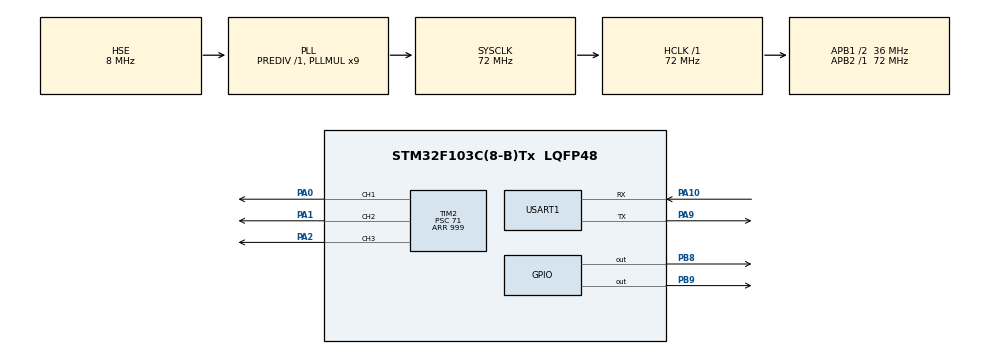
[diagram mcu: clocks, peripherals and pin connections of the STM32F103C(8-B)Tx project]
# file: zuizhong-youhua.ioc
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FREERTOS.Tasks01=defaultTask,24,128,StartDefaultTask,Default,NULL,Dynamic,NULL,NULL
Mcu.Family=STM32F1
Mcu.Name=STM32F103C(8-B)Tx
Mcu.Package=LQFP48
NVIC.PriorityGroup=NVIC_PRIORITYGROUP_4
NVIC.TIM4_IRQn=true\:15\:0\:false\:false\:true\:false\:false\:true\:true
NVIC.TimeBase=TIM4_IRQn
NVIC.TimeBaseIP=TIM4
NVIC.USART1_IRQn=true\:5\:0\:true\:false\:true\:true\:true\:true\:true
PA0-WKUP.Signal=S_TIM2_CH1_ETR
PA1.Signal=S_TIM2_CH2
PA10.Mode=Asynchronous
PA10.Signal=USART1_RX
PA13.Mode=Serial_Wire
PA13.Signal=SYS_JTMS-SWDIO
PA14.Mode=Serial_Wire
PA14.Signal=SYS_JTCK-SWCLK
PA2.Signal=S_TIM2_CH3
PA9.Mode=Asynchronous
PA9.Signal=USART1_TX
PB8.Signal=GPIO_Output
PB9.PinState=GPIO_PIN_SET
PB9.Signal=GPIO_Output
PD0-OSC_IN.Mode=HSE-External-Oscillator
PD0-OSC_IN.Signal=RCC_OSC_IN
PD1-OSC_OUT.Mode=HSE-External-Oscillator
PD1-OSC_OUT.Signal=RCC_OSC_OUT
ProjectManager.HeapSize=0x200
ProjectManager.StackSize=0x400
ProjectManager.TargetToolchain=MDK-ARM V5.32
RCC.AHBFreq_Value=72000000
RCC.APB1CLKDivider=RCC_HCLK_DIV2
RCC.APB1Freq_Value=36000000
RCC.APB1TimFreq_Value=72000000
RCC.APB2Freq_Value=72000000
RCC.APB2TimFreq_Value=72000000
RCC.HCLKFreq_Value=72000000
RCC.PLLMUL=RCC_PLL_MUL9
RCC.PLLSourceVirtual=RCC_PLLSOURCE_HSE
RCC.SYSCLKFreq_VALUE=72000000
RCC.SYSCLKSource=RCC_SYSCLKSOURCE_PLLCLK
RCC.USBFreq_Value=72000000
SH.S_TIM2_CH1_ETR.0=TIM2_CH1,PWM Generation1 CH1
SH.S_TIM2_CH2.0=TIM2_CH2,PWM Generation2 CH2
SH.S_TIM2_CH3.0=TIM2_CH3,PWM Generation3 CH3
TIM2.AutoReloadPreload=TIM_AUTORELOAD_PRELOAD_ENABLE
TIM2.Channel-PWM\ Generation1\ CH1=TIM_CHANNEL_1
TIM2.Channel-PWM\ Generation2\ CH2=TIM_CHANNEL_2
TIM2.Channel-PWM\ Generation3\ CH3=TIM_CHANNEL_3
TIM2.Period=999
TIM2.Prescaler=71
USART1.VirtualMode=VM_ASYNC
VP_FREERTOS_VS_CMSIS_V2.Mode=CMSIS_V2
VP_SYS_VS_tim4.Mode=TIM4
board=custom

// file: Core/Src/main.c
/* USER CODE BEGIN Header */
/**
  ******************************************************************************
  * @file           : main.c
  * @brief          : Main program body
  ******************************************************************************
  * @attention
  *
  * Copyright (c) 2026 STMicroelectronics.
  * All rights reserved.
  *
  * This software is licensed under terms that can be found in the LICENSE file
  * in the root directory of this software component.
  * If no LICENSE file comes with this software, it is provided AS-IS.
  *
  ******************************************************************************
  */
/* USER CODE END Header */
#include "main.h"
#include "cmsis_os.h"
#include "tim.h"
#include "usart.h"
#include "gpio.h"

/* USER CODE BEGIN Includes */
#include "bh1750.h"
#include "led.h"
#include "cmd_parse.h"
/* USER CODE END Includes */

/* USER CODE BEGIN PV */
osThreadId_t uartTaskHandle;
/* USER CODE END PV */

void SystemClock_Config(void);
void MX_FREERTOS_Init(void);

/* USER CODE BEGIN 0 */
// ��������ֻ��LED��˸+��ӡ

// 串口解析任务（兼容开关灯+自动模式）
void vUartParseTask(void *pvParameters)
{
    uartTaskHandle = osThreadGetId(); // 给中断回调的句柄赋值
    Uart1_RxStart(); // 启动串口接收

    printf("串口解析任务启动...\r\n");

    for(;;)
    {
        // 等待中断的帧就绪标志（0x01）
        osThreadFlagsWait(0x01, osFlagsWaitAll, osWaitForever);

        // **************** 核心解析逻辑 ****************
        uint8_t cmd = rx_buf[3];       // 主指令码（固定0x10）
				uint8_t len     = rx_buf[4];
        uint8_t sub_cmd = rx_buf[5];   // 子命令：01=开关灯，02=自动模式
        uint8_t param = rx_buf[6];     // 参数：01=开启，00=关闭

        // 主指令码都是0x02，靠子命令区分功能
        if(cmd == 0x10 && len == 0x02)
        {
            // 1. 子命令01：开关灯（原有逻辑）
            if(sub_cmd == 0x01)
            {
                if(param == 0x01)
                {
                    RGB_On();
                }
                else if(param == 0x00)
                {
                    RGB_Off();
                }
            }
            // 2. 子命令02：自动模式（新增逻辑）
            else if(sub_cmd == 0x02)
            {
                if(param == 0x01)
                {
                    g_Auto_Mode = 1; // 标记开启自动模式
                    // 自动模式开启后：RGB保持开启，按光照调节亮度
                    RGB_On(); // 先开灯，再由传感器任务调节亮度
                }
                else if(param == 0x00)
                {
                    g_Auto_Mode = 0; // 标记关闭自动模式
                    // 自动模式关闭后：RGB保持当前开关状态，停止光照调节
                }
            }
						else if(sub_cmd == 0x03)
						{
								if(param == 0x01)
								{
									  g_Smoke_Alarm = 1;
										g_Auto_Mode = 0;
								}
								else if(param == 0x00)
								{
										g_Smoke_Alarm = 0;
									  RGB_Off();
								}
						}
        }
    }
}

void vLEDTask(void *pvParameters)
{
    float lux = 0.0f;
    uint32_t flash_count = 0; // 闪烁计数（控制500ms亮/灭）
    for(;;)
    {
        // 优先级：烟雾报警 > 自动模式
        if(g_Smoke_Alarm == 1)
        {
            // 复用RGB_Set_Color实现红灯闪烁，无需直接操作寄存器
            flash_count++;
            if(flash_count % 2 == 1) // 奇数：亮红灯
            {
                // 红灯亮（R=0），绿/蓝灭（G/B=999）
                RGB_Set_Color(RED_ON, NO_COLOR, NO_COLOR);
            }
            else // 偶数：灭红灯
            {
                // 所有灯灭（R/G/B=999）
                RGB_Set_Color(RED_OFF, NO_COLOR, NO_COLOR);
            }
            vTaskDelay(500); // 500ms切换一次状态
        }

        // 无报警：原有自动模式逻辑（继续复用RGB_Set_Warm_By_Lux，内部也调用RGB_Set_Color）
        else if(g_Auto_Mode == 1)
        {
            lux = BH1750_ReadLux(); // 读取光照值
            RGB_Set_Warm_By_Lux(lux); // 内部已调用RGB_Set_Color，无需重复操作
						vTaskDelay(20);

        }
        else
        {
            // 无报警、无自动模式：保持当前RGB状态，不做操作
            vTaskDelay(1000);
        }

    }
}
//// 上传光照帧
//void vSensorTask(void *pvParameters)
//{
//    for(;;)
//    {
//       BH1750_Send_Light_Frame();       // 发送光照帧
//      vTaskDelay(1000);                   // FreeRTOS延时1秒
//    }
//}

// 光照采集测试任务：只打印 BH1750 光照值，方便论文截图
void vSensorTask(void *pvParameters)
{
    float lux = 0.0f;
    uint16_t lux_int = 0;

    for(;;)
    {
        // 读取 BH1750 当前光照强度
        lux = BH1750_ReadLux();

        // 防止异常负值影响显示
        if(lux < 0)
        {
            lux = 0;
        }

        // 转成整数，串口显示更清楚
        lux_int = (uint16_t)(lux + 0.5f);

        // 串口输出，方便截图
        printf("BH1750_Lux=%u lx\r\n", lux_int);

        // 每 1 秒采集一次
        vTaskDelay(1000);
    }
}

/* USER CODE END 0 */

int main(void)
{

  /* MCU Configuration--------------------------------------------------------*/

  /* Reset of all peripherals, Initializes the Flash interface and the Systick. */
  HAL_Init();

  /* Configure the system clock */
  SystemClock_Config();

  /* Initialize all configured peripherals */
  MX_GPIO_Init();
  MX_TIM2_Init();
  MX_USART1_UART_Init();
  /* USER CODE BEGIN 2 */
	BH1750_Init();
	RGB_PWM_Init();

    xTaskCreate(vLEDTask, "LEDTask", 256, NULL, 2, NULL);
		xTaskCreate(vSensorTask, "vSensorTask", 256, NULL, 2, NULL);
		// 创建串口解析任务
    osThreadAttr_t uartTaskAttr = {
        .name = "UartParseTask",
        .stack_size = 512,
        .priority = (osPriority_t) osPriorityHigh,
    };
    uartTaskHandle = osThreadNew(vUartParseTask, NULL, &uartTaskAttr);

		uart_sem_handle = osSemaphoreNew(1, 0, NULL);
  /* USER CODE END 2 */

  /* Init scheduler */
  osKernelInitialize();  /* Call init function for freertos objects (in cmsis_os2.c) */
  MX_FREERTOS_Init();

  /* Start scheduler */
  osKernelStart();

  /* We should never get here as control is now taken by the scheduler */

  /* Infinite loop */
  while (1)
  {

    /* USER CODE BEGIN 3 */
		printf("����ʧ��\r\n");
  }
  /* USER CODE END 3 */
}

void SystemClock_Config(void)
{
  RCC_OscInitTypeDef RCC_OscInitStruct = {0};
  RCC_ClkInitTypeDef RCC_ClkInitStruct = {0};

  /** Initializes the RCC Oscillators according to the specified parameters
  * in the RCC_OscInitTypeDef structure.
  */
  RCC_OscInitStruct.OscillatorType = RCC_OSCILLATORTYPE_HSE;
  RCC_OscInitStruct.HSEState = RCC_HSE_ON;
  RCC_OscInitStruct.HSEPredivValue = RCC_HSE_PREDIV_DIV1;
  RCC_OscInitStruct.HSIState = RCC_HSI_ON;
  RCC_OscInitStruct.PLL.PLLState = RCC_PLL_ON;
  RCC_OscInitStruct.PLL.PLLSource = RCC_PLLSOURCE_HSE;
  RCC_OscInitStruct.PLL.PLLMUL = RCC_PLL_MUL9;
  if (HAL_RCC_OscConfig(&RCC_OscInitStruct) != HAL_OK)
  {
    Error_Handler();
  }

  /** Initializes the CPU, AHB and APB buses clocks
  */
  RCC_ClkInitStruct.ClockType = RCC_CLOCKTYPE_HCLK|RCC_CLOCKTYPE_SYSCLK
                              |RCC_CLOCKTYPE_PCLK1|RCC_CLOCKTYPE_PCLK2;
  RCC_ClkInitStruct.SYSCLKSource = RCC_SYSCLKSOURCE_PLLCLK;
  RCC_ClkInitStruct.AHBCLKDivider = RCC_SYSCLK_DIV1;
  RCC_ClkInitStruct.APB1CLKDivider = RCC_HCLK_DIV2;
  RCC_ClkInitStruct.APB2CLKDivider = RCC_HCLK_DIV1;

  if (HAL_RCC_ClockConfig(&RCC_ClkInitStruct, FLASH_LATENCY_2) != HAL_OK)
  {
    Error_Handler();
  }
}

void HAL_TIM_PeriodElapsedCallback(TIM_HandleTypeDef *htim)
{
  if (htim->Instance == TIM4)
  {
    HAL_IncTick();
  }
}

void Error_Handler(void)
{
  __disable_irq();
  while (1)
  {
  }
}
